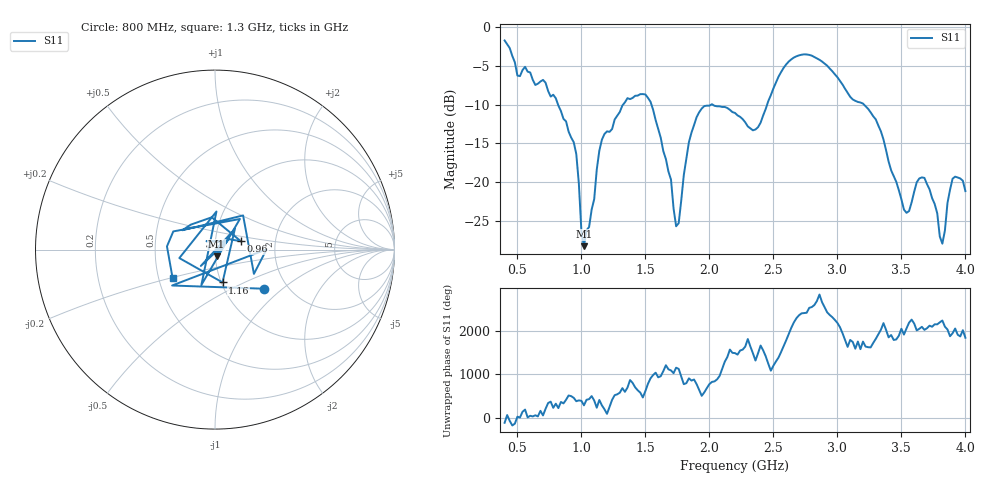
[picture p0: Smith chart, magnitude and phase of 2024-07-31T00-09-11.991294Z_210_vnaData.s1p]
!Created with skrf (http://scikit-rf.org).
# Hz S RI R 50.0
!freq ReS11 ImS11
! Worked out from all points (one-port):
!   181 points, 400 MHz to 4 GHz, reference 50 ohm
!   lowest |S11| = -28.3 dB at 1.02 GHz (marker M1), VSWR 1.08, Z = 50.8 - j3.82 ohm
!   |S11| at or under -10 dB: 817.3 MHz to 1.326 GHz (508.8 MHz wide, 47.5 % of centre); 1.547 GHz to 2.016 GHz (468.5 MHz wide, 26.3 % of centre); 3.207 GHz to end of sweep (the widest 3 of 4)
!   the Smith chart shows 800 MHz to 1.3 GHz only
!   S11 on the Smith chart (normalised r, x): 800 MHz: 1.52, -0.75; 960 MHz: 1.33, +0.13; 1.16 GHz: 1.01, -0.38; 1.3 GHz: 0.59, -0.20
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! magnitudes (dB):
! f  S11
! 400 MHz  -1.7
! 500 MHz  -6.3
! 560 MHz  -5.1
! 800 MHz  -9.2
! 860 MHz  -11.8
! 960 MHz  -16.4
! 1 GHz  -26.3
! 1.02 GHz  -28.3
! 1.1 GHz  -22.2
! 1.16 GHz  -14.5
! 1.3 GHz  -11.0
! 1.54 GHz  -9.6
! 1.7 GHz  -19.7
! 1.74 GHz  -25.7
! 1.76 GHz  -25.3
! 1.84 GHz  -14.8
! 1.9 GHz  -11.6
! 2.2 GHz  -11.1
! 2.38 GHz  -12.9
! 2.66 GHz  -3.9
! 2.88 GHz  -4.5
! 3.1 GHz  -9.0
! 3.3 GHz  -11.9
! 3.56 GHz  -23.7
! 3.68 GHz  -19.5
! 3.82 GHz  -27.9
! 3.9 GHz  -19.6
! 4 GHz  -21.2
